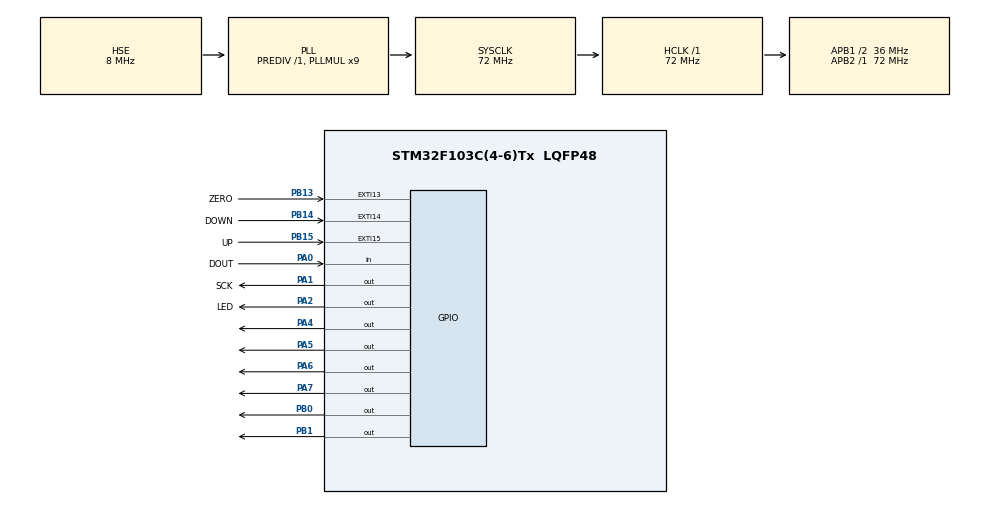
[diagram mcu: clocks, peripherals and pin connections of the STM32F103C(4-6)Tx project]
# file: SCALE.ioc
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Mcu.Family=STM32F1
Mcu.Name=STM32F103C(4-6)Tx
Mcu.Package=LQFP48
NVIC.EXTI15_10_IRQn=true\:1\:0\:true\:false\:true\:true\:true
NVIC.PriorityGroup=NVIC_PRIORITYGROUP_4
PA0-WKUP.GPIO_Label=DOUT
PA0-WKUP.GPIO_PuPd=GPIO_PULLUP
PA0-WKUP.Signal=GPIO_Input
PA1.GPIO_Label=SCK
PA1.Signal=GPIO_Output
PA13.Mode=Serial_Wire
PA13.Signal=SYS_JTMS-SWDIO
PA14.Mode=Serial_Wire
PA14.Signal=SYS_JTCK-SWCLK
PA2.GPIO_Label=LED
PA2.Signal=GPIO_Output
PA4.Signal=GPIO_Output
PA5.Signal=GPIO_Output
PA6.Signal=GPIO_Output
PA7.Signal=GPIO_Output
PB0.Signal=GPIO_Output
PB1.Signal=GPIO_Output
PB13.GPIO_Label=ZERO
PB13.GPIO_ModeDefaultEXTI=GPIO_MODE_IT_FALLING
PB13.GPIO_PuPd=GPIO_PULLUP
PB13.Signal=GPXTI13
PB14.GPIO_Label=DOWN
PB14.GPIO_ModeDefaultEXTI=GPIO_MODE_IT_FALLING
PB14.GPIO_PuPd=GPIO_PULLUP
PB14.Signal=GPXTI14
PB15.GPIO_Label=UP
PB15.GPIO_ModeDefaultEXTI=GPIO_MODE_IT_FALLING
PB15.GPIO_PuPd=GPIO_PULLUP
PB15.Signal=GPXTI15
PD0-OSC_IN.Mode=HSE-External-Oscillator
PD0-OSC_IN.Signal=RCC_OSC_IN
PD1-OSC_OUT.Mode=HSE-External-Oscillator
PD1-OSC_OUT.Signal=RCC_OSC_OUT
ProjectManager.HeapSize=0x200
ProjectManager.StackSize=0x400
ProjectManager.TargetToolchain=MDK-ARM V5.27
RCC.AHBFreq_Value=72000000
RCC.APB1CLKDivider=RCC_HCLK_DIV2
RCC.APB1Freq_Value=36000000
RCC.APB1TimFreq_Value=72000000
RCC.APB2Freq_Value=72000000
RCC.APB2TimFreq_Value=72000000
RCC.HCLKFreq_Value=72000000
RCC.PLLMUL=RCC_PLL_MUL9
RCC.PLLSourceVirtual=RCC_PLLSOURCE_HSE
RCC.SYSCLKFreq_VALUE=72000000
RCC.SYSCLKSource=RCC_SYSCLKSOURCE_PLLCLK
RCC.USBFreq_Value=72000000
board=custom

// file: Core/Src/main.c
/* USER CODE BEGIN Header */
/**
  ******************************************************************************
  * @file           : main.c
  * @brief          : Main program body
  ******************************************************************************
  * @attention
  *
  * <h2><center>&copy; Copyright (c) 2021 STMicroelectronics.
  * All rights reserved.</center></h2>
  *
  * This software component is licensed by ST under BSD 3-Clause license,
  * the "License"; You may not use this file except in compliance with the
  * License. You may obtain a copy of the License at:
  *                        opensource.org/licenses/BSD-3-Clause
  *
  ******************************************************************************
  */
/* USER CODE END Header */
#include "main.h"

void SystemClock_Config(void);
static void MX_GPIO_Init(void);

/* USER CODE BEGIN 0 */
int16_t max_value;
double kp = 2140;
double read1=0, offset=0;
double gram=0;

uint32_t readCount(){
	uint32_t data;
	uint8_t j;
	HAL_GPIO_WritePin(DOUT_GPIO_Port, DOUT_Pin,1);
	HAL_GPIO_WritePin(SCK_GPIO_Port,SCK_Pin,0);
	data=0;
	while(HAL_GPIO_ReadPin(DOUT_GPIO_Port,DOUT_Pin));
	for(j=0;j<24;j++){
		HAL_GPIO_WritePin(SCK_GPIO_Port,SCK_Pin,1);
		data=data<<1;
		HAL_GPIO_WritePin(SCK_GPIO_Port,SCK_Pin,0);
		if(HAL_GPIO_ReadPin(DOUT_GPIO_Port,DOUT_Pin)){
			data++;
		}
	}
		HAL_GPIO_WritePin(SCK_GPIO_Port,SCK_Pin,1);
		data=data^0x800000;
		HAL_GPIO_WritePin(SCK_GPIO_Port,SCK_Pin,0);
		return data;
}

double readAverage(){
	double sum=0;
	for(int k=0;k<20;k++){
		sum+= readCount();
	}
	sum/=20;
	return sum;
}

void HAL_GPIO_EXTI_Callback(uint16_t GPIO_Pin){
	if(GPIO_Pin == UP_Pin){
		uint32_t time=HAL_GetTick();
		while(HAL_GPIO_ReadPin(GPIOB, GPIO_PIN_15)==0){
				if(HAL_GetTick()-time>=200){
				max_value +=5;
				time=HAL_GetTick();
				}
				lcd16x2_setCursor(1,1);
				lcd16x2_printf("max: %4d", max_value);

		}
	}
	else if(GPIO_Pin == DOWN_Pin){
		uint32_t time=HAL_GetTick();
		while(HAL_GPIO_ReadPin(GPIOB, GPIO_PIN_14)==0){
			if(HAL_GetTick()-time >=200){
				max_value -=5;
				time=HAL_GetTick();
			}
			if(max_value<0) max_value=0;
			lcd16x2_setCursor(1,1  );
			lcd16x2_printf("max: %4d", max_value);
		}
	}
	else if(GPIO_Pin==ZERO_Pin){
		offset=readAverage();
	}
}
/* USER CODE END 0 */

int main(void)
{

  /* MCU Configuration--------------------------------------------------------*/

  /* Reset of all peripherals, Initializes the Flash interface and the Systick. */
  HAL_Init();

  /* Configure the system clock */
  SystemClock_Config();

  /* Initialize all configured peripherals */
  MX_GPIO_Init();
  /* USER CODE BEGIN 2 */
	lcd16x2_init_4bits(GPIOB, GPIO_PIN_0, GPIO_PIN_1, GPIOA, GPIO_PIN_4, GPIO_PIN_5, GPIO_PIN_6, GPIO_PIN_7);
	offset =readAverage();

  /* USER CODE END 2 */

  /* Infinite loop */
  /* USER CODE BEGIN WHILE */
  while (1)
  {
		read1= readAverage();
		if (offset >= read1) {
      double val1 = (offset - read1);
      gram = val1;
    }
    else {
      double val2 = (read1 - offset);
      gram = val2;
    }
		lcd16x2_setCursor(0,1);
		lcd16x2_printf("m: %9.4f ", gram/kp );
		lcd16x2_setCursor(1,1);
		lcd16x2_printf("max: %4d", max_value);
		float weight=gram/kp;
		if(weight-max_value>0) HAL_GPIO_WritePin(LED_GPIO_Port,LED_Pin,1);
		else HAL_GPIO_WritePin(LED_GPIO_Port,LED_Pin,0);
		HAL_Delay(100);

    /* USER CODE END WHILE */

  }
}

void SystemClock_Config(void)
{
  RCC_OscInitTypeDef RCC_OscInitStruct = {0};
  RCC_ClkInitTypeDef RCC_ClkInitStruct = {0};

  /** Initializes the RCC Oscillators according to the specified parameters
  * in the RCC_OscInitTypeDef structure.
  */
  RCC_OscInitStruct.OscillatorType = RCC_OSCILLATORTYPE_HSE;
  RCC_OscInitStruct.HSEState = RCC_HSE_ON;
  RCC_OscInitStruct.HSEPredivValue = RCC_HSE_PREDIV_DIV1;
  RCC_OscInitStruct.HSIState = RCC_HSI_ON;
  RCC_OscInitStruct.PLL.PLLState = RCC_PLL_ON;
  RCC_OscInitStruct.PLL.PLLSource = RCC_PLLSOURCE_HSE;
  RCC_OscInitStruct.PLL.PLLMUL = RCC_PLL_MUL9;
  if (HAL_RCC_OscConfig(&RCC_OscInitStruct) != HAL_OK)
  {
    Error_Handler();
  }
  /** Initializes the CPU, AHB and APB buses clocks
  */
  RCC_ClkInitStruct.ClockType = RCC_CLOCKTYPE_HCLK|RCC_CLOCKTYPE_SYSCLK
                              |RCC_CLOCKTYPE_PCLK1|RCC_CLOCKTYPE_PCLK2;
  RCC_ClkInitStruct.SYSCLKSource = RCC_SYSCLKSOURCE_PLLCLK;
  RCC_ClkInitStruct.AHBCLKDivider = RCC_SYSCLK_DIV1;
  RCC_ClkInitStruct.APB1CLKDivider = RCC_HCLK_DIV2;
  RCC_ClkInitStruct.APB2CLKDivider = RCC_HCLK_DIV1;

  if (HAL_RCC_ClockConfig(&RCC_ClkInitStruct, FLASH_LATENCY_2) != HAL_OK)
  {
    Error_Handler();
  }
}

static void MX_GPIO_Init(void)
{
  GPIO_InitTypeDef GPIO_InitStruct = {0};

  /* GPIO Ports Clock Enable */
  __HAL_RCC_GPIOD_CLK_ENABLE();
  __HAL_RCC_GPIOA_CLK_ENABLE();
  __HAL_RCC_GPIOB_CLK_ENABLE();

  /*Configure GPIO pin Output Level */
  HAL_GPIO_WritePin(GPIOA, SCK_Pin|LED_Pin|GPIO_PIN_4|GPIO_PIN_5
                          |GPIO_PIN_6|GPIO_PIN_7, GPIO_PIN_RESET);

  /*Configure GPIO pin Output Level */
  HAL_GPIO_WritePin(GPIOB, GPIO_PIN_0|GPIO_PIN_1, GPIO_PIN_RESET);

  /*Configure GPIO pin : DOUT_Pin */
  GPIO_InitStruct.Pin = DOUT_Pin;
  GPIO_InitStruct.Mode = GPIO_MODE_INPUT;
  GPIO_InitStruct.Pull = GPIO_PULLUP;
  HAL_GPIO_Init(DOUT_GPIO_Port, &GPIO_InitStruct);

  /*Configure GPIO pins : SCK_Pin LED_Pin PA4 PA5
                           PA6 PA7 */
  GPIO_InitStruct.Pin = SCK_Pin|LED_Pin|GPIO_PIN_4|GPIO_PIN_5
                          |GPIO_PIN_6|GPIO_PIN_7;
  GPIO_InitStruct.Mode = GPIO_MODE_OUTPUT_PP;
  GPIO_InitStruct.Pull = GPIO_NOPULL;
  GPIO_InitStruct.Speed = GPIO_SPEED_FREQ_LOW;
  HAL_GPIO_Init(GPIOA, &GPIO_InitStruct);

  /*Configure GPIO pins : PB0 PB1 */
  GPIO_InitStruct.Pin = GPIO_PIN_0|GPIO_PIN_1;
  GPIO_InitStruct.Mode = GPIO_MODE_OUTPUT_PP;
  GPIO_InitStruct.Pull = GPIO_NOPULL;
  GPIO_InitStruct.Speed = GPIO_SPEED_FREQ_LOW;
  HAL_GPIO_Init(GPIOB, &GPIO_InitStruct);

  /*Configure GPIO pins : ZERO_Pin DOWN_Pin UP_Pin */
  GPIO_InitStruct.Pin = ZERO_Pin|DOWN_Pin|UP_Pin;
  GPIO_InitStruct.Mode = GPIO_MODE_IT_FALLING;
  GPIO_InitStruct.Pull = GPIO_PULLUP;
  HAL_GPIO_Init(GPIOB, &GPIO_InitStruct);

  /* EXTI interrupt init*/
  HAL_NVIC_SetPriority(EXTI15_10_IRQn, 1, 0);
  HAL_NVIC_EnableIRQ(EXTI15_10_IRQn);

}

void Error_Handler(void)
{
  __disable_irq();
  while (1)
  {
  }
}

/************************ (C) COPYRIGHT STMicroelectronics *****END OF FILE****/
